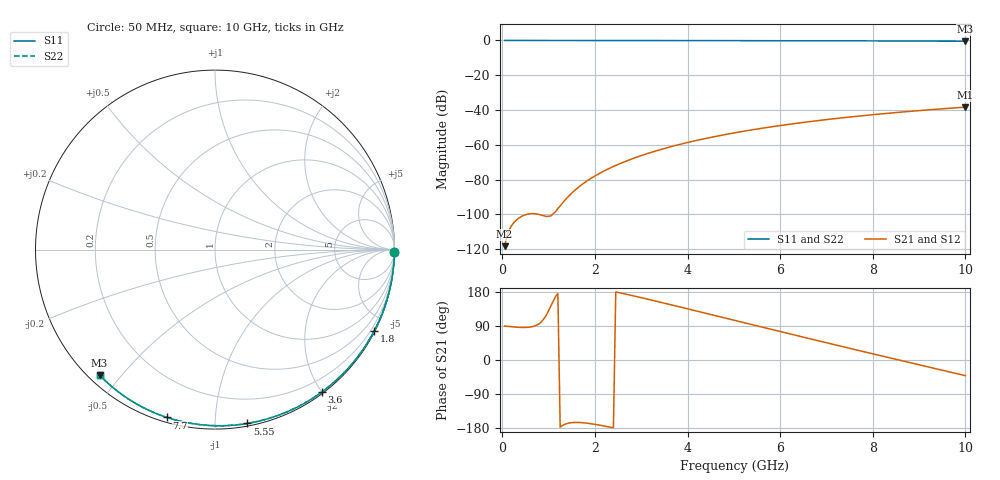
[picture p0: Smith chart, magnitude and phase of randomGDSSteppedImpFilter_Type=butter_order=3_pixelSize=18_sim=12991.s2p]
! freq	dB(S11)	phase(S11)	dB(S12)	phase(S12)
!  dB(S21)	phase(S21)	dB(S22)	phase(S22)
!S-par simulation data
#  GHz  S  DB  R 50
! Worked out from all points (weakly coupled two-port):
!   200 points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, 50 MHz to 10 GHz, reference 50 ohm
!   highest |S21| = -38.34 dB at 10 GHz (marker M1); lowest = -118.3 dB at 50 MHz (marker M2)
!   lowest |S11| = -0.4 dB at 10 GHz (marker M3), VSWR 38.94, Z = 1.53 - j21.9 ohm
!   |S11| at or under -10 dB: nowhere
!   |S22| runs from -0.4 to 0.0 dB; largest |S21 - S12| = 0
!   S11 on the Smith chart (normalised r, x): 50 MHz: open; 1.8 GHz: 0.04, -4.13; 3.6 GHz: 0.02, -2.00; 5.55 GHz: 0.02, -1.20; 7.7 GHz: 0.02, -0.75; 10 GHz: 0.03, -0.44
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0.05  -0.00 -0.8  -118.27 89.5  -118.27 89.5  -0.00 -0.8
0.9  -0.02 -13.7  -100.88 109.1  -100.88 109.1  -0.02 -13.7
1.75  -0.03 -26.5  -82.24 -165.7  -82.24 -165.7  -0.03 -26.5
1.8  -0.03 -27.2  -81.29 -166.3  -81.29 -166.3  -0.03 -27.2
1.85  -0.04 -28.0  -80.40 -167.0  -80.40 -167.0  -0.04 -28.0
1.9  -0.04 -28.7  -79.53 -167.9  -79.53 -167.9  -0.04 -28.7
2.05  -0.04 -30.9  -77.14 -170.8  -77.14 -170.8  -0.04 -30.9
2.25  -0.04 -33.8  -74.33 -175.3  -74.33 -175.3  -0.04 -33.8
2.45  -0.05 -36.8  -71.84 179.6  -71.84 179.6  -0.05 -36.8
2.65  -0.05 -39.7  -69.61 174.3  -69.61 174.3  -0.05 -39.7
3  -0.06 -44.7  -66.20 164.5  -66.20 164.5  -0.06 -44.7
3.4  -0.07 -50.4  -62.86 152.9  -62.86 152.9  -0.07 -50.4
3.6  -0.07 -53.2  -61.37 147.0  -61.37 147.0  -0.07 -53.2
4.3  -0.09 -62.8  -56.86 126.1  -56.86 126.1  -0.09 -62.8
5.05  -0.11 -72.9  -52.94 103.6  -52.94 103.6  -0.11 -72.9
5.55  -0.13 -79.4  -50.71 88.6  -50.71 88.6  -0.13 -79.4
6.1  -0.15 -86.4  -48.54 72.2  -48.54 72.2  -0.15 -86.4
6.7  -0.18 -93.9  -46.45 54.4  -46.45 54.4  -0.18 -93.9
7.7  -0.24 -106.0  -43.47 25.0  -43.47 25.0  -0.24 -106.0
8.35  -0.29 -113.7  -41.81 6.1  -41.81 6.1  -0.29 -113.7
9.15  -0.36 -122.9  -40.01 -16.9  -40.01 -16.9  -0.36 -122.9
10  -0.45 -132.6  -38.34 -41.3  -38.34 -41.3  -0.45 -132.6
